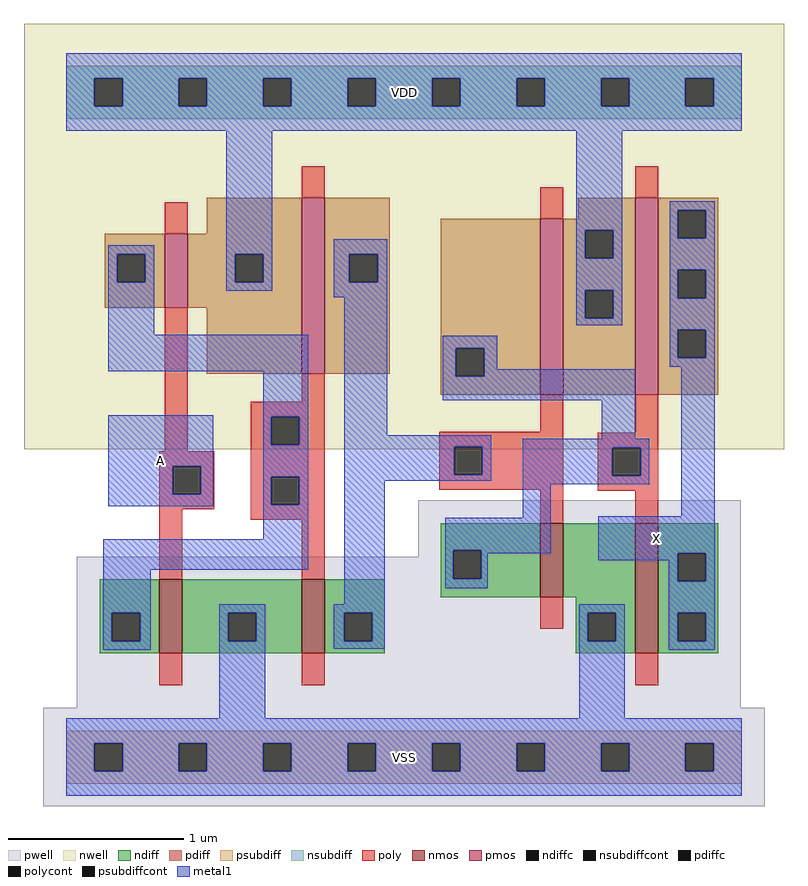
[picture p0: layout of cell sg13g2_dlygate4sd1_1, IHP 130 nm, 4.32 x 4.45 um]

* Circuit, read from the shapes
.subckt sg13g2_dlygate4sd1_1 X VDD VSS A
XM1 VSS A n1 VSS sg13_lv_nmos w=0.42u l=0.13u
XM2 n2 n1 VSS VSS sg13_lv_nmos w=0.42u l=0.13u
XM3 VSS n2 n3 VSS sg13_lv_nmos w=0.42u l=0.13u
XM4 X n3 VSS VSS sg13_lv_nmos w=0.74u l=0.13u
XM5 VDD A n1 VDD sg13_lv_pmos w=0.42u l=0.13u
XM6 n2 n1 VDD VDD sg13_lv_pmos w=1u l=0.13u
XM7 VDD n2 n3 VDD sg13_lv_pmos w=1u l=0.13u
XM8 X n3 VDD VDD sg13_lv_pmos w=1.12u l=0.13u
.ends

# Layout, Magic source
magic
tech ihp-sg13g2
magscale 1 2
<< nwell >>
rect -48 350 816 834
<< pwell >>
rect 400 228 767 292
rect 12 56 767 228
rect -26 -56 794 56
<< nmos >>
rect 106 118 132 202
rect 268 118 294 202
rect 539 182 565 266
rect 647 118 673 266
<< pmos >>
rect 112 511 138 595
rect 268 436 294 636
rect 539 412 565 612
rect 647 412 673 636
<< ndiff >>
rect 426 235 539 266
rect 426 203 440 235
rect 472 203 539 235
rect 38 164 106 202
rect 38 132 52 164
rect 84 132 106 164
rect 38 118 106 132
rect 132 164 268 202
rect 132 132 184 164
rect 216 132 268 164
rect 132 118 268 132
rect 294 164 362 202
rect 426 182 539 203
rect 565 182 647 266
rect 294 132 316 164
rect 348 132 362 164
rect 579 164 647 182
rect 294 118 362 132
rect 579 132 593 164
rect 625 132 647 164
rect 579 118 647 132
rect 673 232 741 266
rect 673 200 695 232
rect 727 200 741 232
rect 673 164 741 200
rect 673 132 695 164
rect 727 132 741 164
rect 673 118 741 132
<< pdiff >>
rect 160 595 268 636
rect 44 572 112 595
rect 44 540 58 572
rect 90 540 112 572
rect 44 511 112 540
rect 138 572 268 595
rect 138 540 192 572
rect 224 540 268 572
rect 138 511 268 540
rect 160 436 268 511
rect 294 572 368 636
rect 582 612 647 636
rect 294 540 322 572
rect 354 540 368 572
rect 294 436 368 540
rect 426 465 539 612
rect 426 433 443 465
rect 475 433 539 465
rect 426 412 539 433
rect 565 599 647 612
rect 565 567 590 599
rect 622 567 647 599
rect 565 531 647 567
rect 565 499 590 531
rect 622 499 647 531
rect 565 412 647 499
rect 673 622 741 636
rect 673 590 695 622
rect 727 590 741 622
rect 673 554 741 590
rect 673 522 695 554
rect 727 522 741 554
rect 673 486 741 522
rect 673 454 695 486
rect 727 454 741 486
rect 673 412 741 454
<< ndiffc >>
rect 440 203 472 235
rect 52 132 84 164
rect 184 132 216 164
rect 316 132 348 164
rect 593 132 625 164
rect 695 200 727 232
rect 695 132 727 164
<< pdiffc >>
rect 58 540 90 572
rect 192 540 224 572
rect 322 540 354 572
rect 443 433 475 465
rect 590 567 622 599
rect 590 499 622 531
rect 695 590 727 622
rect 695 522 727 554
rect 695 454 727 486
<< psubdiff >>
rect 0 16 768 30
rect 0 -16 32 16
rect 64 -16 128 16
rect 160 -16 224 16
rect 256 -16 320 16
rect 352 -16 416 16
rect 448 -16 512 16
rect 544 -16 608 16
rect 640 -16 704 16
rect 736 -16 768 16
rect 0 -30 768 -16
<< nsubdiff >>
rect 0 772 768 786
rect 0 740 32 772
rect 64 740 128 772
rect 160 740 224 772
rect 256 740 320 772
rect 352 740 416 772
rect 448 740 512 772
rect 544 740 608 772
rect 640 740 704 772
rect 736 740 768 772
rect 0 726 768 740
<< psubdiffcont >>
rect 32 -16 64 16
rect 128 -16 160 16
rect 224 -16 256 16
rect 320 -16 352 16
rect 416 -16 448 16
rect 512 -16 544 16
rect 608 -16 640 16
rect 704 -16 736 16
<< nsubdiffcont >>
rect 32 740 64 772
rect 128 740 160 772
rect 224 740 256 772
rect 320 740 352 772
rect 416 740 448 772
rect 512 740 544 772
rect 608 740 640 772
rect 704 740 736 772
<< poly >>
rect 268 636 294 672
rect 112 595 138 631
rect 112 348 138 511
rect 539 612 565 648
rect 647 636 673 672
rect 268 404 294 436
rect 210 387 294 404
rect 210 355 233 387
rect 265 355 294 387
rect 539 370 565 412
rect 106 331 168 348
rect 106 299 121 331
rect 153 299 168 331
rect 106 282 168 299
rect 210 319 294 355
rect 210 287 233 319
rect 265 287 294 319
rect 424 353 565 370
rect 647 369 673 412
rect 424 321 441 353
rect 473 321 565 353
rect 424 304 565 321
rect 106 202 132 282
rect 210 270 294 287
rect 268 202 294 270
rect 539 266 565 304
rect 604 352 673 369
rect 604 320 621 352
rect 653 320 673 352
rect 604 303 673 320
rect 647 266 673 303
rect 539 146 565 182
rect 106 82 132 118
rect 268 82 294 118
rect 647 82 673 118
<< polycont >>
rect 233 355 265 387
rect 121 299 153 331
rect 233 287 265 319
rect 441 321 473 353
rect 621 320 653 352
<< metal1 >>
rect 0 772 768 800
rect 0 740 32 772
rect 64 740 128 772
rect 160 740 224 772
rect 256 740 320 772
rect 352 740 416 772
rect 448 740 512 772
rect 544 740 608 772
rect 640 740 704 772
rect 736 740 768 772
rect 0 712 768 740
rect 48 572 100 582
rect 48 540 58 572
rect 90 540 100 572
rect 48 480 100 540
rect 182 572 234 712
rect 580 599 632 712
rect 182 540 192 572
rect 224 540 234 572
rect 182 530 234 540
rect 304 572 365 589
rect 304 540 322 572
rect 354 540 365 572
rect 304 523 365 540
rect 48 439 275 480
rect 48 331 167 389
rect 48 299 121 331
rect 153 299 167 331
rect 48 285 167 299
rect 224 387 275 439
rect 224 355 233 387
rect 265 355 275 387
rect 224 319 275 355
rect 224 287 233 319
rect 265 287 275 319
rect 224 248 275 287
rect 42 213 275 248
rect 316 366 365 523
rect 580 567 590 599
rect 622 567 632 599
rect 580 531 632 567
rect 580 499 590 531
rect 622 499 632 531
rect 580 491 632 499
rect 686 622 737 632
rect 686 590 695 622
rect 727 590 737 622
rect 686 554 737 590
rect 686 522 695 554
rect 727 522 737 554
rect 686 486 737 522
rect 428 465 490 479
rect 428 433 443 465
rect 475 441 490 465
rect 686 454 695 486
rect 727 454 737 486
rect 686 444 737 454
rect 475 433 647 441
rect 428 406 647 433
rect 316 353 483 366
rect 609 362 647 406
rect 316 321 441 353
rect 473 321 483 353
rect 316 314 483 321
rect 519 352 663 362
rect 519 320 621 352
rect 653 320 663 352
rect 42 164 96 213
rect 316 174 362 314
rect 519 310 663 320
rect 519 272 551 310
rect 699 274 737 444
rect 431 235 551 272
rect 431 203 440 235
rect 472 232 551 235
rect 605 232 737 274
rect 472 203 479 232
rect 605 224 695 232
rect 431 192 479 203
rect 685 200 695 224
rect 727 200 737 232
rect 42 132 52 164
rect 84 132 96 164
rect 42 122 96 132
rect 174 164 226 174
rect 174 132 184 164
rect 216 132 226 164
rect 174 44 226 132
rect 304 164 362 174
rect 304 132 316 164
rect 348 132 362 164
rect 304 123 362 132
rect 583 164 635 174
rect 583 132 593 164
rect 625 132 635 164
rect 583 44 635 132
rect 685 164 737 200
rect 685 132 695 164
rect 727 132 737 164
rect 685 122 737 132
rect 0 16 768 44
rect 0 -16 32 16
rect 64 -16 128 16
rect 160 -16 224 16
rect 256 -16 320 16
rect 352 -16 416 16
rect 448 -16 512 16
rect 544 -16 608 16
rect 640 -16 704 16
rect 736 -16 768 16
rect 0 -44 768 -16
<< labels >>
flabel metal1 s 605 224 737 274 0 FreeSans 400 0 0 0 X
port 2 nsew
flabel metal1 s 0 712 768 800 0 FreeSans 400 0 0 0 VDD
port 3 nsew
flabel metal1 s 0 -44 768 44 0 FreeSans 400 0 0 0 VSS
port 4 nsew
flabel metal1 s 48 285 167 389 0 FreeSans 400 0 0 0 A
port 5 nsew
<< properties >>
string FIXED_BBOX 0 0 768 756
<< end >>
